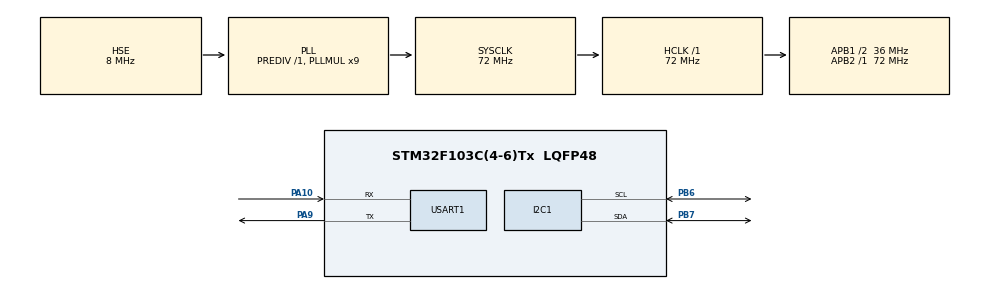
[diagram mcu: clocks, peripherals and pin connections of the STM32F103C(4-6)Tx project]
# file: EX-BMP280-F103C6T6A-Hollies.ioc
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Mcu.Family=STM32F1
Mcu.Name=STM32F103C(4-6)Tx
Mcu.Package=LQFP48
NVIC.PriorityGroup=NVIC_PRIORITYGROUP_4
PA10.Mode=Asynchronous
PA10.Signal=USART1_RX
PA13.Mode=Serial_Wire
PA13.Signal=SYS_JTMS-SWDIO
PA14.Mode=Serial_Wire
PA14.Signal=SYS_JTCK-SWCLK
PA9.Mode=Asynchronous
PA9.Signal=USART1_TX
PB6.Mode=I2C
PB6.Signal=I2C1_SCL
PB7.Mode=I2C
PB7.Signal=I2C1_SDA
PC14-OSC32_IN.Mode=LSE-External-Oscillator
PC14-OSC32_IN.Signal=RCC_OSC32_IN
PC15-OSC32_OUT.Mode=LSE-External-Oscillator
PC15-OSC32_OUT.Signal=RCC_OSC32_OUT
PD0-OSC_IN.Mode=HSE-External-Oscillator
PD0-OSC_IN.Signal=RCC_OSC_IN
PD1-OSC_OUT.Mode=HSE-External-Oscillator
PD1-OSC_OUT.Signal=RCC_OSC_OUT
ProjectManager.HeapSize=0x200
ProjectManager.StackSize=0x400
ProjectManager.TargetToolchain=STM32CubeIDE
RCC.AHBFreq_Value=72000000
RCC.APB1CLKDivider=RCC_HCLK_DIV2
RCC.APB1Freq_Value=36000000
RCC.APB1TimFreq_Value=72000000
RCC.APB2Freq_Value=72000000
RCC.APB2TimFreq_Value=72000000
RCC.HCLKFreq_Value=72000000
RCC.PLLMUL=RCC_PLL_MUL9
RCC.PLLSourceVirtual=RCC_PLLSOURCE_HSE
RCC.SYSCLKFreq_VALUE=72000000
RCC.SYSCLKSource=RCC_SYSCLKSOURCE_PLLCLK
RCC.USBFreq_Value=72000000
USART1.VirtualMode=VM_ASYNC
board=custom

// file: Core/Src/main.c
/* USER CODE BEGIN Header */
/**
 ******************************************************************************
 * @file           : main.c
 * @brief          : Main program body
 ******************************************************************************
 * @attention
 *
 * Copyright (c) 2023 STMicroelectronics.
 * All rights reserved.
 *
 * This software is licensed under terms that can be found in the LICENSE file
 * in the root directory of this software component.
 * If no LICENSE file comes with this software, it is provided AS-IS.
 *
 ******************************************************************************
 */
/* USER CODE END Header */
#include "main.h"

/* USER CODE BEGIN Includes */
#include "bmp280.h"
#include "stdio.h"
#include "math.h"
/* USER CODE END Includes */

I2C_HandleTypeDef hi2c1;

UART_HandleTypeDef huart1;

void SystemClock_Config(void);
static void MX_GPIO_Init(void);
static void MX_I2C1_Init(void);
static void MX_USART1_UART_Init(void);

/* USER CODE BEGIN 0 */
//bmp280相关定义
double pow(double X, double Y);
double data_conversion(double air_pressure, double temperature)
{
	double conversion_alt;
	conversion_alt = (pow(101325 / air_pressure, 1 / 5.257) - 1) * temperature
			/ 0.0065f;
	return conversion_alt;
}
/* USER CODE END 0 */

int main(void)
{
	/* USER CODE BEGIN 1 */
	double Alt;
	bmp280_params_t params;
	BMP280_HandleTypedef bmp280_dev;
	float pressure, temperature, humidity;

	/* USER CODE END 1 */

	/* MCU Configuration--------------------------------------------------------*/

	/* Reset of all peripherals, Initializes the Flash interface and the Systick. */
	HAL_Init();

	/* Configure the system clock */
	SystemClock_Config();

	/* Initialize all configured peripherals */
	MX_GPIO_Init();
	MX_I2C1_Init();
	MX_USART1_UART_Init();
	/* USER CODE BEGIN 2 */
	bmp280_init_default_params(&params); //BMP280模块配置参数。
	bmp280_dev.addr = BMP280_I2C_ADDRESS_0;
	bmp280_dev.i2c = &hi2c1;
	bmp280_init(&bmp280_dev, &params);
	bool bme280p = bmp280_dev.id == BME280_CHIP_ID;
	/* USER CODE END 2 */

	/* Infinite loop */
	while (1)
	{
		bmp280_read_float(&bmp280_dev, &temperature, &pressure, &humidity);
		Alt = data_conversion(pressure, temperature);
		printf("Pressure: %.2f Pa, Temperature: %.2f C, Alt:%.3f m\r\n",
				pressure, temperature, Alt);
		if (bme280p)
			printf(", Humidity: %.2f\n", humidity);
		else
			printf("\n");
		HAL_GPIO_TogglePin(GPIOC, GPIO_PIN_13);
		HAL_Delay(500);
	}
}

void SystemClock_Config(void)
{
	RCC_OscInitTypeDef RCC_OscInitStruct =
	{ 0 };
	RCC_ClkInitTypeDef RCC_ClkInitStruct =
	{ 0 };

	/** Initializes the RCC Oscillators according to the specified parameters
	 * in the RCC_OscInitTypeDef structure.
	 */
	RCC_OscInitStruct.OscillatorType = RCC_OSCILLATORTYPE_HSE;
	RCC_OscInitStruct.HSEState = RCC_HSE_ON;
	RCC_OscInitStruct.HSEPredivValue = RCC_HSE_PREDIV_DIV1;
	RCC_OscInitStruct.HSIState = RCC_HSI_ON;
	RCC_OscInitStruct.PLL.PLLState = RCC_PLL_ON;
	RCC_OscInitStruct.PLL.PLLSource = RCC_PLLSOURCE_HSE;
	RCC_OscInitStruct.PLL.PLLMUL = RCC_PLL_MUL9;
	if (HAL_RCC_OscConfig(&RCC_OscInitStruct) != HAL_OK)
	{
		Error_Handler();
	}

	/** Initializes the CPU, AHB and APB buses clocks
	 */
	RCC_ClkInitStruct.ClockType = RCC_CLOCKTYPE_HCLK | RCC_CLOCKTYPE_SYSCLK
			| RCC_CLOCKTYPE_PCLK1 | RCC_CLOCKTYPE_PCLK2;
	RCC_ClkInitStruct.SYSCLKSource = RCC_SYSCLKSOURCE_PLLCLK;
	RCC_ClkInitStruct.AHBCLKDivider = RCC_SYSCLK_DIV1;
	RCC_ClkInitStruct.APB1CLKDivider = RCC_HCLK_DIV2;
	RCC_ClkInitStruct.APB2CLKDivider = RCC_HCLK_DIV1;

	if (HAL_RCC_ClockConfig(&RCC_ClkInitStruct, FLASH_LATENCY_2) != HAL_OK)
	{
		Error_Handler();
	}
}

static void MX_I2C1_Init(void)
{

	hi2c1.Instance = I2C1;
	hi2c1.Init.ClockSpeed = 100000;
	hi2c1.Init.DutyCycle = I2C_DUTYCYCLE_2;
	hi2c1.Init.OwnAddress1 = 0;
	hi2c1.Init.AddressingMode = I2C_ADDRESSINGMODE_7BIT;
	hi2c1.Init.DualAddressMode = I2C_DUALADDRESS_DISABLE;
	hi2c1.Init.OwnAddress2 = 0;
	hi2c1.Init.GeneralCallMode = I2C_GENERALCALL_DISABLE;
	hi2c1.Init.NoStretchMode = I2C_NOSTRETCH_DISABLE;
	if (HAL_I2C_Init(&hi2c1) != HAL_OK)
	{
		Error_Handler();
	}

}

static void MX_USART1_UART_Init(void)
{

	huart1.Instance = USART1;
	huart1.Init.BaudRate = 115200;
	huart1.Init.WordLength = UART_WORDLENGTH_8B;
	huart1.Init.StopBits = UART_STOPBITS_1;
	huart1.Init.Parity = UART_PARITY_NONE;
	huart1.Init.Mode = UART_MODE_TX_RX;
	huart1.Init.HwFlowCtl = UART_HWCONTROL_NONE;
	huart1.Init.OverSampling = UART_OVERSAMPLING_16;
	if (HAL_UART_Init(&huart1) != HAL_OK)
	{
		Error_Handler();
	}

}

static void MX_GPIO_Init(void)
{

	/* GPIO Ports Clock Enable */
	__HAL_RCC_GPIOC_CLK_ENABLE();
	__HAL_RCC_GPIOD_CLK_ENABLE();
	__HAL_RCC_GPIOA_CLK_ENABLE();
	__HAL_RCC_GPIOB_CLK_ENABLE();

}

/* USER CODE BEGIN 4 */

int fputc(int ch,FILE *f){
    HAL_UART_Transmit(&huart1,(uint8_t *)&ch,1,100);
    return ch;
}
/* USER CODE END 4 */

void Error_Handler(void)
{
	__disable_irq();
	while (1)
	{
	}
}
